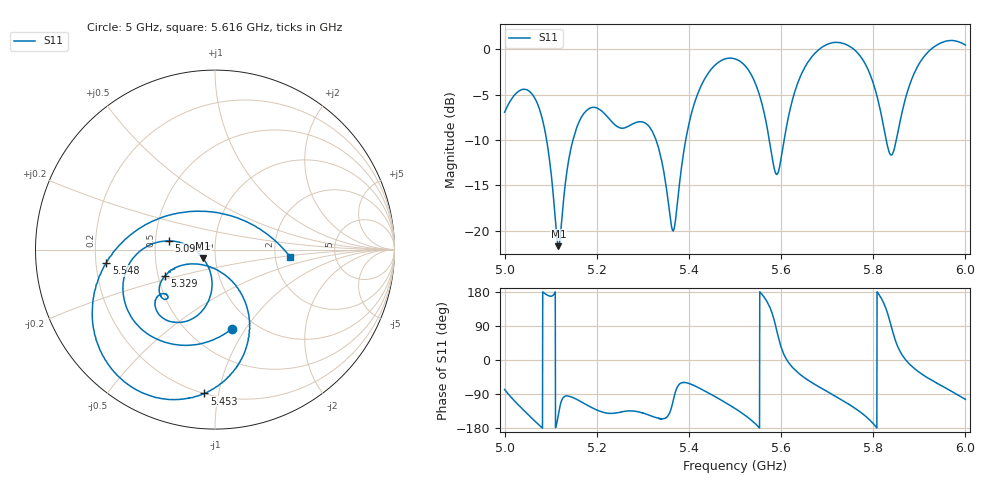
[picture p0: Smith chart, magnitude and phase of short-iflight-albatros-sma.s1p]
# HZ S RI R 50
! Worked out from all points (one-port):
!   2020 points, 5 GHz to 6 GHz, reference 50 ohm
!   lowest |S11| = -21.7 dB at 5.117 GHz (marker M1), VSWR 1.18, Z = 43.6 - j4.31 ohm
!   |S11| at or under -10 dB: 5.091 GHz to 5.148 GHz (57.1 MHz wide, 1.12 % of centre); 5.329 GHz to 5.393 GHz (64.21 MHz wide, 1.2 % of centre); 5.574 GHz to 5.607 GHz (32.17 MHz wide, 0.575 % of centre) (the widest 3 of 4)
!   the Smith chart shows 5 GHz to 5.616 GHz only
!   S11 on the Smith chart (normalised r, x): 5 GHz: 0.79, -0.87; 5.096 GHz: 0.59, +0.06; 5.329 GHz: 0.54, -0.18; 5.453 GHz: 0.20, -0.91; 5.548 GHz: 0.24, -0.06; 5.616 GHz: 2.42, -0.25
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5e9  0.0961 -0.44
5.027241e9  -0.248 -0.524
5.055473e9  -0.501 -0.2976
5.096087e9  -0.257 0.0487
5.11689e9  -0.066 -0.049
5.12531e9  -0.0274 -0.1222
5.169886e9  -0.1705 -0.4019
5.250124e9  -0.276 -0.2459
5.328876e9  -0.2795 -0.1464
5.363547e9  -0.0498 -0.0891
5.375434e9  0.0499 -0.1369
5.406142e9  0.192 -0.4072
5.453195e9  -0.0595 -0.8013
5.500248e9  -0.5475 -0.6976
5.548292e9  -0.6058 -0.0732
5.589401e9  0.0226 0.204
5.615652e9  0.4191 -0.043
5.625062e9  0.5005 -0.1793
5.655771e9  0.5253 -0.645
5.694404e9  0.1939 -1.031
5.750372e9  -0.5008 -0.9052
5.790986e9  -0.6906 -0.2957
5.827638e9  -0.23 0.2246
5.842992e9  0.0868 0.2551
5.875186e9  0.5922 -0.0655
5.906885e9  0.6986 -0.5512
5.944528e9  0.4507 -0.981
6.000001e9  -0.2528 -1.028
